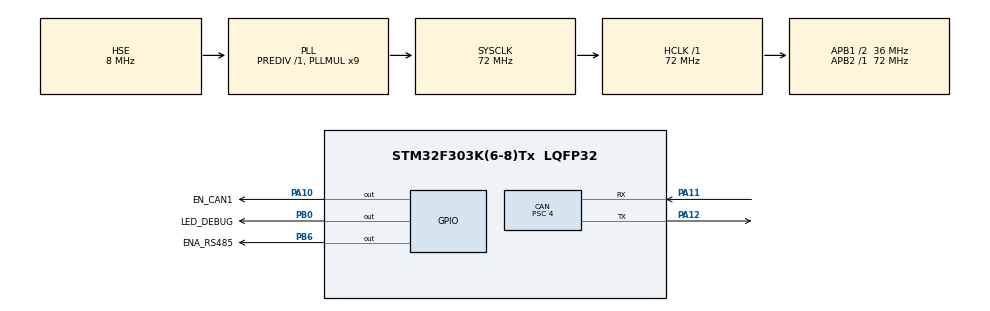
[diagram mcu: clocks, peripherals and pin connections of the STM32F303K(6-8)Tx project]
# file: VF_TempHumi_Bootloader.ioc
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CAN.BS1=CAN_BS1_15TQ
CAN.BS2=CAN_BS2_2TQ
CAN.CalculateBaudRate=500000
CAN.CalculateTimeBit=2000
CAN.CalculateTimeQuantum=111.11111111111111
CAN.Prescaler=4
Mcu.Family=STM32F3
Mcu.Name=STM32F303K(6-8)Tx
Mcu.Package=LQFP32
NVIC.PriorityGroup=NVIC_PRIORITYGROUP_4
PA10.GPIO_Label=EN_CAN1
PA10.PinState=GPIO_PIN_SET
PA10.Signal=GPIO_Output
PA11.Mode=CAN_Activate
PA11.Signal=CAN_RX
PA12.Mode=CAN_Activate
PA12.Signal=CAN_TX
PA13.Mode=Serial_Wire
PA13.Signal=SYS_JTMS-SWDIO
PA14.Mode=Serial_Wire
PA14.Signal=SYS_JTCK-SWCLK
PB0.GPIO_Label=LED_DEBUG
PB0.PinState=GPIO_PIN_SET
PB0.Signal=GPIO_Output
PB6.GPIO_Label=ENA_RS485
PB6.Signal=GPIO_Output
PF0\ /\ OSC_IN.Mode=HSE-External-Oscillator
PF0\ /\ OSC_IN.Signal=RCC_OSC_IN
PF1\ /\ OSC_OUT.Mode=HSE-External-Oscillator
PF1\ /\ OSC_OUT.Signal=RCC_OSC_OUT
ProjectManager.HeapSize=0x0
ProjectManager.StackSize=0x400
ProjectManager.TargetToolchain=STM32CubeIDE
RCC.AHBFreq_Value=72000000
RCC.APB1CLKDivider=RCC_HCLK_DIV2
RCC.APB1Freq_Value=36000000
RCC.APB1TimFreq_Value=72000000
RCC.APB2Freq_Value=72000000
RCC.APB2TimFreq_Value=72000000
RCC.CortexFreq_Value=72000000
RCC.HCLKFreq_Value=72000000
RCC.HSE_VALUE=8000000
RCC.HSI_VALUE=8000000
RCC.PLLMUL=RCC_PLL_MUL9
RCC.PLLSourceVirtual=RCC_PLLSOURCE_HSE
RCC.SYSCLKFreq_VALUE=72000000
RCC.SYSCLKSourceVirtual=RCC_SYSCLKSOURCE_PLLCLK
board=custom

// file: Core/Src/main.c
/* USER CODE BEGIN Header */
/**
  ******************************************************************************
  * @file           : main.c
  * @brief          : Main program body
  ******************************************************************************
  * @attention
  *
  * Copyright (c) 2026 STMicroelectronics.
  * All rights reserved.
  *
  * This software is licensed under terms that can be found in the LICENSE file
  * in the root directory of this software component.
  * If no LICENSE file comes with this software, it is provided AS-IS.
  *
  ******************************************************************************
  */
/* USER CODE END Header */
#include "main.h"
#include "can.h"
#include "gpio.h"

/* USER CODE BEGIN Includes */
#include "app/app_board.h"       /* linked from VF_TempHumi_Module/Core/Src/app */
#include "app/app_cfg.h"         /* linked from VF_TempHumi_Module/Core/Src/app */
#include "app/app_cfg_store.h"   /* linked from VF_TempHumi_Module/Core/Src/app */
#include "app/boot_board.h"
#include "app/boot_can.h"
#include "app/boot_config.h"
#include "app/boot_jump.h"
#include "app/boot_led.h"
#include "app/boot_policy.h"
#include "app/boot_svc.h"

#include <stdbool.h>
/* USER CODE END Includes */

/* USER CODE BEGIN PTD */
/* What the bootloader would say if it had a console - read it in a debug
   session of this project (Live Expressions: g_boot). Same idea as the
   application's g_diag. */
typedef struct
{
  uint32_t magic;            /* BOOT_DIAG_MAGIC */
  uint8_t  app_present;      /* 1 = a plausible vector table at APP_IMAGE_BASE */
  uint8_t  cfg_state;        /* app_cfg_check() of the page at power-up: 0 OK, 1 blank .. 7 */
  uint8_t  can_start;        /* BOOT_CAN_OK, or the step that failed */
  uint8_t  policy;           /* BOOT_POLICY_*: 0 listen, 1 rescue, 2 unconfigured */
  uint8_t  heard;            /* 1 once a 0x7E0 request has been served */
  uint8_t  last_cmd;         /* last request: command byte */
  uint8_t  last_status;      /* ... and the status answered */
  uint32_t requests;         /* 0x7E0 frames served */
  uint32_t rx_errors;        /* a frame was waiting but could not be read */
  uint32_t responses_ok;     /* 0x7E8 left and was ACKed */
  uint32_t responses_lost;   /* 0x7E8 not ACKed, or aborted after BOOT_SEND_TIMEOUT_MS */
} boot_diag_t;
/* USER CODE END PTD */

/* USER CODE BEGIN PD */
/* Reads as "THB1" in a hex view: the debugger is looking at the live struct.
   The application's g_diag reads "THD1". */
#define BOOT_DIAG_MAGIC   0x31424854u
/* USER CODE END PD */

/* USER CODE BEGIN PV */
/* Which bootloader is on the chip - `strings` on the .elf, or a debugger. */
static const char s_boot_id[] = BOOT_FW_ID;

boot_diag_t g_boot;
/* USER CODE END PV */

void SystemClock_Config(void);

/* USER CODE BEGIN 0 */
/* The protocol's view of the world: the SAME flash code the application uses
   (app_cfg_store.c, linked from VF_TempHumi_Module), so what COMMIT writes is
   byte for byte what the application reads at boot. */
static const boot_svc_hooks_t k_svc_hooks =
{
  .read_cfg  = app_cfg_store_read,
  .write_cfg = app_cfg_store_write,
  .read_uid  = boot_board_read_uid,
};

/* Code 3 while nobody has spoken to a module that is waiting to be
   configured - the application's own code for "no valid config", so the
   operator learns no new pattern. The double flash in every other case, and
   as soon as the first 0x7E0 arrives: the operator sees the mainboard get
   through. Phase 5 plan 2.7. */
static void boot_led_task(void)
{
  const uint32_t now = HAL_GetTick();
  const bool on = ((g_boot.policy == BOOT_POLICY_STAY_UNCONFIGURED) && (g_boot.heard == 0u))
                  ? boot_led_code_on(BOOT_LED_CODE_UNCONFIGURED, now)
                  : boot_led_double_on(now);

  app_board_led_set(on);
}

/* One request, if there is one: answer it, and reset if it was RESET - after
   the answer has left, so the mainboard can tell "reset" from "dead" (CAN2
   section 5, invariant 4). Returns true if a request was served. */
static bool boot_serve_once(void)
{
  uint8_t req[BOOT_SVC_DLC];
  uint8_t rsp[BOOT_SVC_DLC];
  uint8_t len = 0u;

  const uint8_t rx = boot_can_recv(req, &len);
  if (rx == BOOT_CAN_RX_ERROR)
  {
    g_boot.rx_errors++;
    return false;
  }
  if (rx != BOOT_CAN_RX_FRAME)
  {
    return false;
  }

  g_boot.heard = 1u;
  g_boot.requests++;

  const uint8_t action = boot_svc_handle(req, len, rsp);
  g_boot.last_cmd    = rsp[0];
  g_boot.last_status = rsp[1];

  /* A lost response is recovered by the mainboard, which retries (CAN2 3). */
  if (boot_can_send(rsp))
  {
    g_boot.responses_ok++;
  }
  else
  {
    g_boot.responses_lost++;
  }

  if (action == (uint8_t)BOOT_SVC_RESET)
  {
    /* The response has left its mailbox (boot_can_send waited for it). Board
       safe, then reset: the next power-up decides afresh, and after a COMMIT
       it takes the listen-and-jump path. */
    app_board_enter_safe_state();
    NVIC_SystemReset();
  }
  return true;
}
/* USER CODE END 0 */

int main(void)
{

  /* USER CODE BEGIN 1 */
  /* BEFORE ANYTHING ELSE: release the RS485 bus. The board pulls MAX485 DE/RE
     up to +5 V through 5 kOhm (CLAUDE.md 4.3), so from power-on until this line
     the MAX485 is TRANSMITTING. The bootloader runs first at every power-up and
     may stay for ever (no application, no config), so this is the line that
     matters most for the RS485 bus - the very function measured on the board
     in phase 1, linked from the application, not copied. Before HAL_Init: a
     dead crystal sends SystemClock_Config to Error_Handler before
     MX_GPIO_Init would ever run. */
  app_board_early_guard();
  /* USER CODE END 1 */

  /* MCU Configuration--------------------------------------------------------*/

  /* Reset of all peripherals, Initializes the Flash interface and the Systick. */
  HAL_Init();

  /* Configure the system clock */
  SystemClock_Config();

  /* Initialize all configured peripherals */
  MX_GPIO_Init();
  MX_CAN_Init();
  /* USER CODE BEGIN 2 */
  /*
   * THE WHOLE BOOTLOADER, IN ONE PAGE (phase 5 plan 2.2).
   *
   *   PB6 low (early guard), clocks, GPIO, CAN init
   *      |
   *      +- CAN start: filter 0x7E0, transceiver Normal, HAL_CAN_Start
   *      |     failed -> application + valid config ? jump : stay, LED code 5
   *      |
   *      +- is there an application at APP_IMAGE_BASE?
   *      |     no  -> stay for ever, serving CAN2   <- the rescue path
   *      |
   *      +- does the config page pass app_cfg_check() - the app's own rule?
   *      |     no  -> stay for ever, serving CAN2   <- not configured
   *      |
   *      +- listen for 0x7E0 for BOOT_LISTEN_WINDOW_MS (CAN2 5, invariant 5)
   *            heard one  -> stay, serving CAN2 until RESET or power-off
   *            silence    -> jump to the application
   *
   * The transceiver is Normal throughout, whatever the config says: CAN2 5.1
   * and 5.3 require an answer even from a blank page. What keeps CAN1 safe is
   * that this program transmits ONLY 0x7E8, ONLY in reply to 0x7E0, and 0x7E0
   * does not exist on CAN1. It never sends a TH_* frame. CLAUDE.md 6.5.
   */
  __asm__ volatile ("" : : "r" (s_boot_id));   /* keep the id in the image */

  /* Restate the safe state instead of trusting the generated levels: RS485
     released, transceiver standby, LED dark. */
  app_board_enter_safe_state();

  g_boot.magic = BOOT_DIAG_MAGIC;
  boot_svc_init(&k_svc_hooks);

  {
    /* Read here, not taken from boot_svc: the decision uses the page exactly
       as the application will read it after the jump. */
    app_cfg_t stored;
    app_cfg_store_read(&stored);
    g_boot.cfg_state   = app_cfg_check(&stored);
    g_boot.app_present = boot_app_present() ? 1u : 0u;
    g_boot.policy      = boot_policy_at_power_up(g_boot.app_present != 0u, g_boot.cfg_state);
  }

  g_boot.can_start = boot_can_start();
  if (g_boot.can_start != BOOT_CAN_OK)
  {
    /* No CAN: no protocol, so nothing can be served here. A module that
       would have jumped anyway still does - the application at least
       measures, and reports CAN on its own terms. Any other module stays and
       says why: code 5, as the application shows a CAN that will not start. */
    if (g_boot.policy == BOOT_POLICY_LISTEN)
    {
      boot_jump_to_app();
    }
    for (;;)
    {
      app_board_led_set(boot_led_code_on(BOOT_LED_CODE_CAN, HAL_GetTick()));
    }
  }

  if (g_boot.policy == BOOT_POLICY_LISTEN)
  {
    const uint32_t t0 = HAL_GetTick();
    bool stay = false;

    while (!stay && ((HAL_GetTick() - t0) < BOOT_LISTEN_WINDOW_MS))
    {
      boot_led_task();
      /* Somebody is talking: stop counting. A session is several commands
         and far longer than the window, and a jump between SET_NODE_ID and
         COMMIT would lose it. */
      stay = boot_serve_once();
    }

    if (!stay)
    {
      boot_jump_to_app();
    }
  }
  /* A session is open, there is nothing to jump to, or nothing configured to
     jump for. The only way out is a reset - RESET over CAN2, SW1, or a power
     cycle - and after a COMMIT the next power-up takes the window path. */
  /* USER CODE END 2 */

  /* Infinite loop */
  while (1)
  {

    /* USER CODE BEGIN 3 */
    boot_led_task();
    (void)boot_serve_once();
  }
  /* USER CODE END 3 */
}

void SystemClock_Config(void)
{
  RCC_OscInitTypeDef RCC_OscInitStruct = {0};
  RCC_ClkInitTypeDef RCC_ClkInitStruct = {0};

  /** Initializes the RCC Oscillators according to the specified parameters
  * in the RCC_OscInitTypeDef structure.
  */
  RCC_OscInitStruct.OscillatorType = RCC_OSCILLATORTYPE_HSE;
  RCC_OscInitStruct.HSEState = RCC_HSE_ON;
  RCC_OscInitStruct.HSEPredivValue = RCC_HSE_PREDIV_DIV1;
  RCC_OscInitStruct.HSIState = RCC_HSI_ON;
  RCC_OscInitStruct.PLL.PLLState = RCC_PLL_ON;
  RCC_OscInitStruct.PLL.PLLSource = RCC_PLLSOURCE_HSE;
  RCC_OscInitStruct.PLL.PLLMUL = RCC_PLL_MUL9;
  if (HAL_RCC_OscConfig(&RCC_OscInitStruct) != HAL_OK)
  {
    Error_Handler();
  }

  /** Initializes the CPU, AHB and APB buses clocks
  */
  RCC_ClkInitStruct.ClockType = RCC_CLOCKTYPE_HCLK|RCC_CLOCKTYPE_SYSCLK
                              |RCC_CLOCKTYPE_PCLK1|RCC_CLOCKTYPE_PCLK2;
  RCC_ClkInitStruct.SYSCLKSource = RCC_SYSCLKSOURCE_PLLCLK;
  RCC_ClkInitStruct.AHBCLKDivider = RCC_SYSCLK_DIV1;
  RCC_ClkInitStruct.APB1CLKDivider = RCC_HCLK_DIV2;
  RCC_ClkInitStruct.APB2CLKDivider = RCC_HCLK_DIV1;

  if (HAL_RCC_ClockConfig(&RCC_ClkInitStruct, FLASH_LATENCY_2) != HAL_OK)
  {
    Error_Handler();
  }
}

void Error_Handler(void)
{
  /* USER CODE BEGIN Error_Handler_Debug */
  /* A generated init failed: SystemClock_Config (a dead crystal is the likely
     one on a new board) or MX_CAN_Init. Quiet and safe from here - RS485
     released, transceiver standby - and the failure visible as code 1, the
     application's code for the same thing.

     MX_GPIO_Init runs again because after a clock failure it has not run yet
     and the LED pin is still an input. It only drives the three labelled pins
     to their safe .ioc levels and cannot call Error_Handler itself. PB6 and
     PA10 are already safe from app_board_early_guard(). */
  __disable_irq();
  MX_GPIO_Init();
  app_board_enter_safe_state();
  boot_board_code_forever(BOOT_LED_CODE_HAL_INIT);
  /* USER CODE END Error_Handler_Debug */
}
